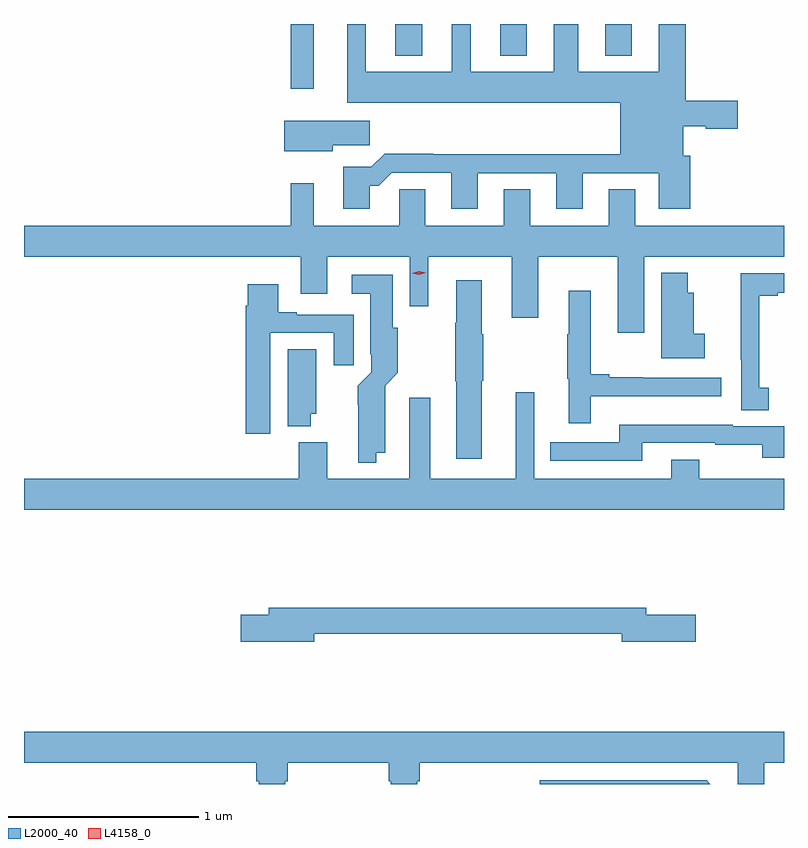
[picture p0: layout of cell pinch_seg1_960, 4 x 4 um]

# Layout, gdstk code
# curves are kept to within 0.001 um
import gdstk
lib = gdstk.Library(unit=1e-6, precision=1e-09)
def R(c, l, rs):  # rectangles x0, y0, x1, y1
    for r in rs: c.add(gdstk.rectangle(r[:2], r[2:], *l))
def A(c, l, x, y, w, h, nx, ny, dx, dy):  # array of equal rectangles
    R(c, l, [(x+i*dx, y+j*dy, x+i*dx+w, y+j*dy+h) for i in range(nx) for j in range(ny)])
def P(c, l, *ps):  # polygons
    for p in ps: c.add(gdstk.Polygon(p, *l))
L2000_40 = (2000, 40)
L4158_0 = (4158, 0)

pinch_seg1_960 = lib.new_cell('pinch_seg1_960')
A(pinch_seg1_960, L2000_40, 299.129, 530.147, 0.14, 0.166, 3, 1, 0.552, 0)
R(pinch_seg1_960, L2000_40, [(298.578,529.971,298.699,530.313)])
P(pinch_seg1_960, L2000_40, [(298.993,529.463),(299.042,529.463),(299.109,529.53),(299.423,529.53),(299.423,529.341),(299.563,529.341),(299.563,529.527),(299.975,529.527),(299.975,529.341),(300.115,529.341),(300.115,529.527),(300.515,529.527),(300.515,529.341),(300.68,529.341),(300.68,529.62),(300.643,529.62),(300.643,529.775),(300.763,529.775),(300.763,529.763),(300.931,529.763),(300.931,529.91),(300.656,529.91),(300.656,530.313),(300.515,530.313),(300.515,530.062),(300.091,530.062),(300.091,530.313),(299.963,530.313),(299.963,530.062),(299.524,530.062),(299.524,530.313),(299.426,530.313),(299.426,530.062),(298.972,530.062),(298.972,530.313),(298.874,530.313),(298.874,529.898),(300.311,529.898),(300.311,529.628),(299.327,529.628),(299.327,529.631),(299.072,529.631),(299.002,529.561),(298.853,529.561),(298.853,529.341),(298.993,529.341)],
  [(298.798,529.675),(298.993,529.675),(298.993,529.804),(298.544,529.804),(298.544,529.643),(298.798,529.643)],
  [(300.439,529.088),(301.174,529.088),(301.174,529.252),(300.391,529.252),(300.391,529.442),(300.251,529.442),(300.251,529.252),(299.839,529.252),(299.839,529.442),(299.699,529.442),(299.699,529.252),(299.287,529.252),(299.287,529.442),(299.148,529.442),(299.148,529.252),(298.699,529.252),(298.699,529.474),(298.578,529.474),(298.578,529.252),(297.174,529.252),(297.174,529.088),(298.631,529.088),(298.631,528.894),(298.771,528.894),(298.771,529.088),(299.205,529.088),(299.205,528.828),(299.302,528.828),(299.302,529.088),(299.741,529.088),(299.741,528.768),(299.881,528.768),(299.881,529.088),(300.299,529.088),(300.299,528.687),(300.439,528.687)],
  [(300.757,528.684),(300.7,528.684),(300.7,528.898),(300.667,528.898),(300.667,529.003),(300.527,529.003),(300.527,528.554),(300.757,528.554)],
  [(301.094,528.399),(301.045,528.399),(301.045,528.882),(301.141,528.882),(301.141,528.899),(301.174,528.899),(301.174,529),(300.946,529),(300.946,528.547),(300.948,528.547),(300.948,528.28),(301.094,528.28)],
  [(299.029,528.056),(299.074,528.056),(299.075,528.41),(299.142,528.477),(299.142,528.714),(299.116,528.714),(299.116,528.994),(298.899,528.994),(298.899,528.893),(298.997,528.893),(298.997,528.574),(299.001,528.574),(299.001,528.48),(298.931,528.41),(298.932,528.005),(299.029,528.005)],
  [(299.584,528.436),(299.592,528.436),(299.592,528.68),(299.584,528.68),(299.584,528.964),(299.45,528.964),(299.45,528.74),(299.443,528.74),(299.443,528.433),(299.45,528.433),(299.45,528.024),(299.584,528.024)],
  [(298.471,528.687),(298.805,528.687),(298.805,528.516),(298.909,528.516),(298.909,528.783),(298.609,528.783),(298.609,528.796),(298.513,528.796),(298.513,528.943),(298.352,528.943),(298.352,528.83),(298.34,528.83),(298.34,528.156),(298.471,528.156)],
  [(300.157,528.353),(300.844,528.353),(300.844,528.45),(300.431,528.45),(300.431,528.453),(300.253,528.453),(300.253,528.47),(300.157,528.47),(300.157,528.91),(300.041,528.91),(300.041,528.68),(300.034,528.68),(300.034,528.447),(300.041,528.447),(300.041,528.213),(300.157,528.213)],
  [(298.684,528.261),(298.711,528.261),(298.711,528.602),(298.562,528.602),(298.562,528.197),(298.684,528.197)],
  [(301.174,527.92),(300.729,527.92),(300.729,528.019),(300.581,528.019),(300.581,527.92),(299.859,527.92),(299.859,528.376),(299.762,528.376),(299.762,527.92),(299.311,527.92),(299.311,528.346),(299.201,528.346),(299.201,527.92),(298.771,527.92),(298.771,528.112),(298.619,528.112),(298.619,527.92),(297.174,527.92),(297.174,527.756),(301.174,527.756)],
  [(300.427,528.108),(300.813,528.108),(300.813,528.098),(301.06,528.098),(301.06,528.029),(301.174,528.029),(301.174,528.195),(300.903,528.195),(300.903,528.205),(300.308,528.205),(300.308,528.111),(299.944,528.111),(299.944,528.015),(300.427,528.015)],
  [(298.702,527.104),(300.32,527.104),(300.32,527.062),(300.709,527.062),(300.709,527.204),(300.448,527.204),(300.448,527.24),(298.463,527.24),(298.463,527.204),(298.314,527.204),(298.314,527.062),(298.702,527.062)],
  [(298.549,526.328),(298.562,526.328),(298.562,526.424),(299.093,526.424),(299.093,526.328),(299.105,526.328),(299.105,526.313),(299.245,526.313),(299.245,526.328),(299.258,526.328),(299.258,526.424),(300.93,526.424),(300.93,526.313),(301.069,526.313),(301.069,526.424),(301.174,526.424),(301.174,526.588),(297.174,526.588),(297.174,526.424),(298.397,526.424),(298.397,526.328),(298.409,526.328),(298.409,526.313),(298.549,526.313)],
  [(300.768,526.332),(299.889,526.332),(299.889,526.313),(300.787,526.313)])
P(pinch_seg1_960, L4158_0, [(299.253,528.993),(299.217,529.002),(299.217,529.002),(299.217,529.002),(299.252,529.013),(299.288,529.004),(299.288,529.004),(299.288,529.003)])

lib.write_gds('pinch_seg1_960.gds')
